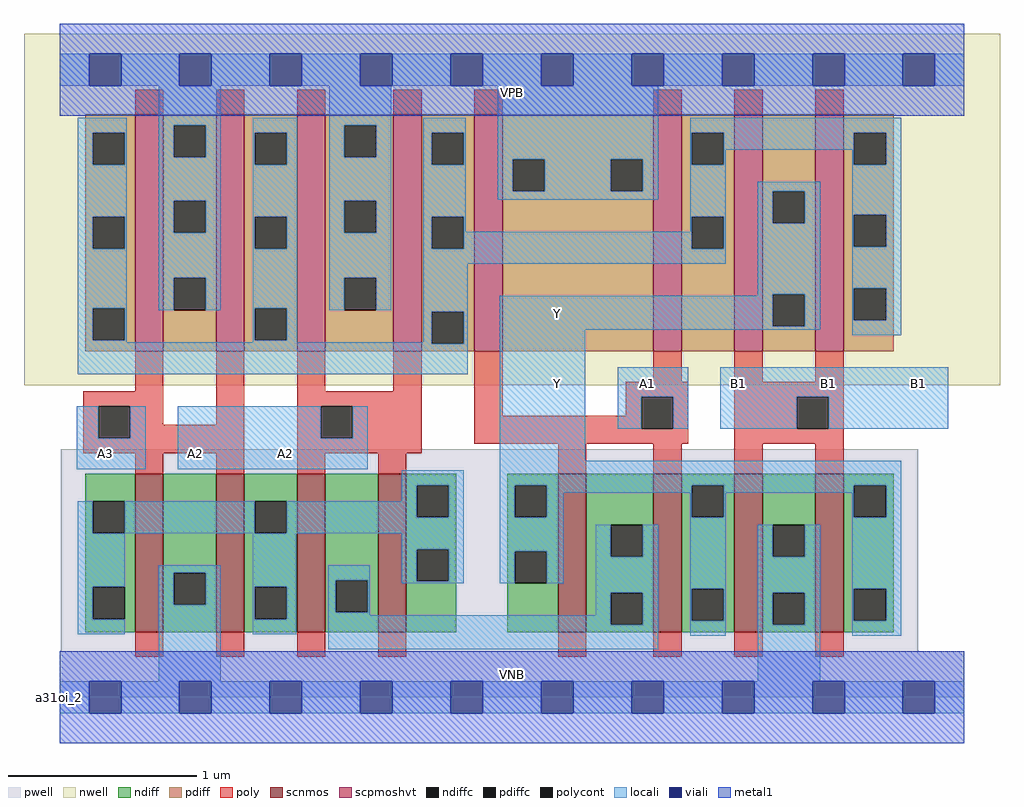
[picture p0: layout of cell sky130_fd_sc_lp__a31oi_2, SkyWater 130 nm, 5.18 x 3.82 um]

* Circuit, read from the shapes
.subckt sky130_fd_sc_lp__a31oi_2 A1 A2 A3 B1 VGND VNB VPB VPWR Y
XM1 VGND A3 n1 VNB sky130_fd_pr__nfet_01v8 w=0.84 l=0.15 m=2
XM2 n2 A2 n1 VNB sky130_fd_pr__nfet_01v8 w=0.84 l=0.15 m=2
XM3 n2 A1 Y VNB sky130_fd_pr__nfet_01v8 w=0.84 l=0.15 m=2
XM4 VGND B1 Y VNB sky130_fd_pr__nfet_01v8 w=0.84 l=0.15 m=2
XM5 VPWR A3 n3 VPB sky130_fd_pr__pfet_01v8_hvt w=1.26 l=0.15 m=2
XM6 VPWR A2 n3 VPB sky130_fd_pr__pfet_01v8_hvt w=1.26 l=0.15 m=2
XM7 VPWR A1 n3 VPB sky130_fd_pr__pfet_01v8_hvt w=1.26 l=0.15 m=2
XM8 Y B1 n3 VPB sky130_fd_pr__pfet_01v8_hvt w=1.26 l=0.15 m=2
.ends

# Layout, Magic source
magic
tech sky130A
magscale 1 2
<< nwell >>
rect -38 331 998 704
<< pwell >>
rect 1 49 911 263
rect 0 0 960 49
<< scnmos >>
rect 80 69 110 237
rect 166 69 196 237
rect 252 69 282 237
rect 338 69 368 237
rect 529 69 559 237
rect 630 69 660 237
rect 716 69 746 237
rect 802 69 832 237
<< scpmoshvt >>
rect 80 367 110 619
rect 166 367 196 619
rect 252 367 282 619
rect 354 367 384 619
rect 440 367 470 619
rect 630 367 660 619
rect 716 367 746 619
rect 802 367 832 619
<< ndiff >>
rect 27 208 80 237
rect 27 174 35 208
rect 69 174 80 208
rect 27 117 80 174
rect 27 83 35 117
rect 69 83 80 117
rect 27 69 80 83
rect 110 132 166 237
rect 110 98 121 132
rect 155 98 166 132
rect 110 69 166 98
rect 196 208 252 237
rect 196 174 207 208
rect 241 174 252 208
rect 196 117 252 174
rect 196 83 207 117
rect 241 83 252 117
rect 196 69 252 83
rect 282 124 338 237
rect 282 90 293 124
rect 327 90 338 124
rect 282 69 338 90
rect 368 225 421 237
rect 368 191 379 225
rect 413 191 421 225
rect 368 157 421 191
rect 368 123 379 157
rect 413 123 421 157
rect 368 69 421 123
rect 475 225 529 237
rect 475 191 483 225
rect 517 191 529 225
rect 475 155 529 191
rect 475 121 483 155
rect 517 121 529 155
rect 475 69 529 121
rect 559 183 630 237
rect 559 149 585 183
rect 619 149 630 183
rect 559 111 630 149
rect 559 77 585 111
rect 619 77 630 111
rect 559 69 630 77
rect 660 225 716 237
rect 660 191 671 225
rect 705 191 716 225
rect 660 115 716 191
rect 660 81 671 115
rect 705 81 716 115
rect 660 69 716 81
rect 746 183 802 237
rect 746 149 757 183
rect 791 149 802 183
rect 746 111 802 149
rect 746 77 757 111
rect 791 77 802 111
rect 746 69 802 77
rect 832 225 885 237
rect 832 191 843 225
rect 877 191 885 225
rect 832 115 885 191
rect 832 81 843 115
rect 877 81 885 115
rect 832 69 885 81
<< pdiff >>
rect 27 599 80 619
rect 27 565 35 599
rect 69 565 80 599
rect 27 510 80 565
rect 27 476 35 510
rect 69 476 80 510
rect 27 413 80 476
rect 27 379 35 413
rect 69 379 80 413
rect 27 367 80 379
rect 110 607 166 619
rect 110 573 121 607
rect 155 573 166 607
rect 110 527 166 573
rect 110 493 121 527
rect 155 493 166 527
rect 110 445 166 493
rect 110 411 121 445
rect 155 411 166 445
rect 110 367 166 411
rect 196 599 252 619
rect 196 565 207 599
rect 241 565 252 599
rect 196 510 252 565
rect 196 476 207 510
rect 241 476 252 510
rect 196 413 252 476
rect 196 379 207 413
rect 241 379 252 413
rect 196 367 252 379
rect 282 607 354 619
rect 282 573 302 607
rect 336 573 354 607
rect 282 527 354 573
rect 282 493 302 527
rect 336 493 354 527
rect 282 445 354 493
rect 282 411 302 445
rect 336 411 354 445
rect 282 367 354 411
rect 384 599 440 619
rect 384 565 395 599
rect 429 565 440 599
rect 384 510 440 565
rect 384 476 395 510
rect 429 476 440 510
rect 384 409 440 476
rect 384 375 395 409
rect 429 375 440 409
rect 384 367 440 375
rect 470 571 630 619
rect 470 537 481 571
rect 515 537 585 571
rect 619 537 630 571
rect 470 367 630 537
rect 660 599 716 619
rect 660 565 671 599
rect 705 565 716 599
rect 660 510 716 565
rect 660 476 671 510
rect 705 476 716 510
rect 660 367 716 476
rect 746 537 802 619
rect 746 503 757 537
rect 791 503 802 537
rect 746 428 802 503
rect 746 394 757 428
rect 791 394 802 428
rect 746 367 802 394
rect 832 599 885 619
rect 832 565 843 599
rect 877 565 885 599
rect 832 512 885 565
rect 832 478 843 512
rect 877 478 885 512
rect 832 434 885 478
rect 832 400 843 434
rect 877 400 885 434
rect 832 367 885 400
<< ndiffc >>
rect 35 174 69 208
rect 35 83 69 117
rect 121 98 155 132
rect 207 174 241 208
rect 207 83 241 117
rect 293 90 327 124
rect 379 191 413 225
rect 379 123 413 157
rect 483 191 517 225
rect 483 121 517 155
rect 585 149 619 183
rect 585 77 619 111
rect 671 191 705 225
rect 671 81 705 115
rect 757 149 791 183
rect 757 77 791 111
rect 843 191 877 225
rect 843 81 877 115
<< pdiffc >>
rect 35 565 69 599
rect 35 476 69 510
rect 35 379 69 413
rect 121 573 155 607
rect 121 493 155 527
rect 121 411 155 445
rect 207 565 241 599
rect 207 476 241 510
rect 207 379 241 413
rect 302 573 336 607
rect 302 493 336 527
rect 302 411 336 445
rect 395 565 429 599
rect 395 476 429 510
rect 395 375 429 409
rect 481 537 515 571
rect 585 537 619 571
rect 671 565 705 599
rect 671 476 705 510
rect 757 503 791 537
rect 757 394 791 428
rect 843 565 877 599
rect 843 478 877 512
rect 843 400 877 434
<< poly >>
rect 80 619 110 645
rect 166 619 196 645
rect 252 619 282 645
rect 354 619 384 645
rect 440 619 470 645
rect 630 619 660 645
rect 716 619 746 645
rect 802 619 832 645
rect 80 325 110 367
rect 25 309 110 325
rect 25 275 41 309
rect 75 289 110 309
rect 166 289 196 367
rect 75 275 196 289
rect 25 259 196 275
rect 80 237 110 259
rect 166 237 196 259
rect 252 325 282 367
rect 354 325 384 367
rect 252 309 384 325
rect 252 275 277 309
rect 311 275 384 309
rect 252 259 384 275
rect 440 299 470 367
rect 630 335 660 367
rect 716 335 746 367
rect 802 335 832 367
rect 601 319 667 335
rect 601 299 617 319
rect 440 285 617 299
rect 651 285 667 319
rect 440 269 667 285
rect 716 319 832 335
rect 716 285 782 319
rect 816 285 832 319
rect 716 269 832 285
rect 252 237 282 259
rect 338 237 368 259
rect 529 237 559 269
rect 630 237 660 269
rect 716 237 746 269
rect 802 237 832 269
rect 80 43 110 69
rect 166 43 196 69
rect 252 43 282 69
rect 338 43 368 69
rect 529 43 559 69
rect 630 43 660 69
rect 716 43 746 69
rect 802 43 832 69
<< polycont >>
rect 41 275 75 309
rect 277 275 311 309
rect 617 285 651 319
rect 782 285 816 319
<< locali >>
rect 0 649 31 683
rect 65 649 127 683
rect 161 649 223 683
rect 257 649 319 683
rect 353 649 415 683
rect 449 649 511 683
rect 545 649 607 683
rect 641 649 703 683
rect 737 649 799 683
rect 833 649 895 683
rect 929 649 960 683
rect 19 599 71 615
rect 19 565 35 599
rect 69 565 71 599
rect 19 510 71 565
rect 19 476 35 510
rect 69 476 71 510
rect 19 413 71 476
rect 19 379 35 413
rect 69 379 71 413
rect 105 607 171 649
rect 105 573 121 607
rect 155 573 171 607
rect 105 527 171 573
rect 105 493 121 527
rect 155 493 171 527
rect 105 445 171 493
rect 105 411 121 445
rect 155 411 171 445
rect 205 599 252 615
rect 205 565 207 599
rect 241 565 252 599
rect 205 510 252 565
rect 205 476 207 510
rect 241 476 252 510
rect 205 413 252 476
rect 19 377 71 379
rect 205 379 207 413
rect 241 379 252 413
rect 286 607 352 649
rect 286 573 302 607
rect 336 573 352 607
rect 286 527 352 573
rect 286 493 302 527
rect 336 493 352 527
rect 286 445 352 493
rect 286 411 302 445
rect 336 411 352 445
rect 386 599 431 615
rect 386 565 395 599
rect 429 565 431 599
rect 386 510 431 565
rect 465 571 635 649
rect 465 537 481 571
rect 515 537 585 571
rect 619 537 635 571
rect 465 528 635 537
rect 669 599 893 615
rect 669 565 671 599
rect 705 581 843 599
rect 705 565 707 581
rect 386 476 395 510
rect 429 494 431 510
rect 669 510 707 565
rect 841 565 843 581
rect 877 565 893 599
rect 669 494 671 510
rect 429 476 671 494
rect 705 476 707 510
rect 386 460 707 476
rect 741 537 807 547
rect 741 503 757 537
rect 791 503 807 537
rect 205 377 252 379
rect 386 409 433 460
rect 741 428 807 503
rect 741 426 757 428
rect 386 377 395 409
rect 19 375 395 377
rect 429 375 433 409
rect 19 343 433 375
rect 467 394 757 426
rect 791 394 807 428
rect 467 390 807 394
rect 841 512 893 565
rect 841 478 843 512
rect 877 478 893 512
rect 841 434 893 478
rect 841 400 843 434
rect 877 400 893 434
rect 18 275 41 309
rect 75 275 91 309
rect 18 242 91 275
rect 125 275 277 309
rect 311 275 327 309
rect 125 242 327 275
rect 467 251 558 390
rect 841 384 893 400
rect 592 319 667 350
rect 592 285 617 319
rect 651 285 667 319
rect 701 319 943 350
rect 701 285 782 319
rect 816 285 943 319
rect 363 225 429 241
rect 363 208 379 225
rect 19 174 35 208
rect 69 174 207 208
rect 241 191 379 208
rect 413 191 429 225
rect 241 174 429 191
rect 19 117 69 174
rect 19 83 35 117
rect 19 67 69 83
rect 105 132 171 140
rect 105 98 121 132
rect 155 98 171 132
rect 105 17 171 98
rect 205 117 251 174
rect 363 157 429 174
rect 205 83 207 117
rect 241 83 251 117
rect 205 67 251 83
rect 285 124 329 140
rect 285 90 293 124
rect 327 90 329 124
rect 363 123 379 157
rect 413 123 429 157
rect 363 121 429 123
rect 467 225 893 251
rect 467 191 483 225
rect 517 217 671 225
rect 517 191 535 217
rect 467 155 535 191
rect 669 191 671 217
rect 705 217 843 225
rect 705 191 707 217
rect 467 121 483 155
rect 517 121 535 155
rect 569 149 585 183
rect 619 149 635 183
rect 285 87 329 90
rect 569 111 635 149
rect 569 87 585 111
rect 285 77 585 87
rect 619 77 635 111
rect 285 51 635 77
rect 669 115 707 191
rect 841 191 843 217
rect 877 191 893 225
rect 669 81 671 115
rect 705 81 707 115
rect 669 65 707 81
rect 741 149 757 183
rect 791 149 807 183
rect 741 111 807 149
rect 741 77 757 111
rect 791 77 807 111
rect 741 17 807 77
rect 841 115 893 191
rect 841 81 843 115
rect 877 81 893 115
rect 841 65 893 81
rect 0 -17 31 17
rect 65 -17 127 17
rect 161 -17 223 17
rect 257 -17 319 17
rect 353 -17 415 17
rect 449 -17 511 17
rect 545 -17 607 17
rect 641 -17 703 17
rect 737 -17 799 17
rect 833 -17 895 17
rect 929 -17 960 17
<< viali >>
rect 31 649 65 683
rect 127 649 161 683
rect 223 649 257 683
rect 319 649 353 683
rect 415 649 449 683
rect 511 649 545 683
rect 607 649 641 683
rect 703 649 737 683
rect 799 649 833 683
rect 895 649 929 683
rect 31 -17 65 17
rect 127 -17 161 17
rect 223 -17 257 17
rect 319 -17 353 17
rect 415 -17 449 17
rect 511 -17 545 17
rect 607 -17 641 17
rect 703 -17 737 17
rect 799 -17 833 17
rect 895 -17 929 17
<< metal1 >>
rect 0 683 960 715
rect 0 649 31 683
rect 65 649 127 683
rect 161 649 223 683
rect 257 649 319 683
rect 353 649 415 683
rect 449 649 511 683
rect 545 649 607 683
rect 641 649 703 683
rect 737 649 799 683
rect 833 649 895 683
rect 929 649 960 683
rect 0 617 960 649
rect 0 17 960 49
rect 0 -17 31 17
rect 65 -17 127 17
rect 161 -17 223 17
rect 257 -17 319 17
rect 353 -17 415 17
rect 449 -17 511 17
rect 545 -17 607 17
rect 641 -17 703 17
rect 737 -17 799 17
rect 833 -17 895 17
rect 929 -17 960 17
rect 0 -49 960 -17
<< labels >>
flabel pwell s 0 0 960 49 0 FreeSans 200 0 0 0 VNB
port 6 nsew ground bidirectional
flabel nwell s 0 617 960 666 0 FreeSans 200 0 0 0 VPB
port 7 nsew power bidirectional
rlabel comment s 0 0 0 0 4 a31oi_2
flabel metal1 s 0 617 960 666 0 FreeSans 340 0 0 0 VPWR
port 8 nsew power bidirectional
flabel metal1 s 0 0 960 49 0 FreeSans 340 0 0 0 VGND
port 5 nsew ground bidirectional
flabel locali s 511 316 545 350 0 FreeSans 340 0 0 0 Y
port 9 nsew signal output
flabel locali s 511 390 545 424 0 FreeSans 340 0 0 0 Y
port 9 nsew signal output
flabel locali s 607 316 641 350 0 FreeSans 340 0 0 0 A1
port 1 nsew signal input
flabel locali s 127 242 161 276 0 FreeSans 340 0 0 0 A2
port 2 nsew signal input
flabel locali s 223 242 257 276 0 FreeSans 340 0 0 0 A2
port 2 nsew signal input
flabel locali s 31 242 65 276 0 FreeSans 340 0 0 0 A3
port 3 nsew signal input
flabel locali s 703 316 737 350 0 FreeSans 340 0 0 0 B1
port 4 nsew signal input
flabel locali s 799 316 833 350 0 FreeSans 340 0 0 0 B1
port 4 nsew signal input
flabel locali s 895 316 929 350 0 FreeSans 340 0 0 0 B1
port 4 nsew signal input
<< properties >>
string LEFsite unit
string LEFclass CORE
string FIXED_BBOX 0 0 960 666
string GDS_FILE $PDKPATH/libs.ref/sky130_fd_sc_lp/gds/sky130_fd_sc_lp.gds
string LEFsymmetry X Y R90
string GDS_END 3449032
string GDS_START 3440444
<< end >>
